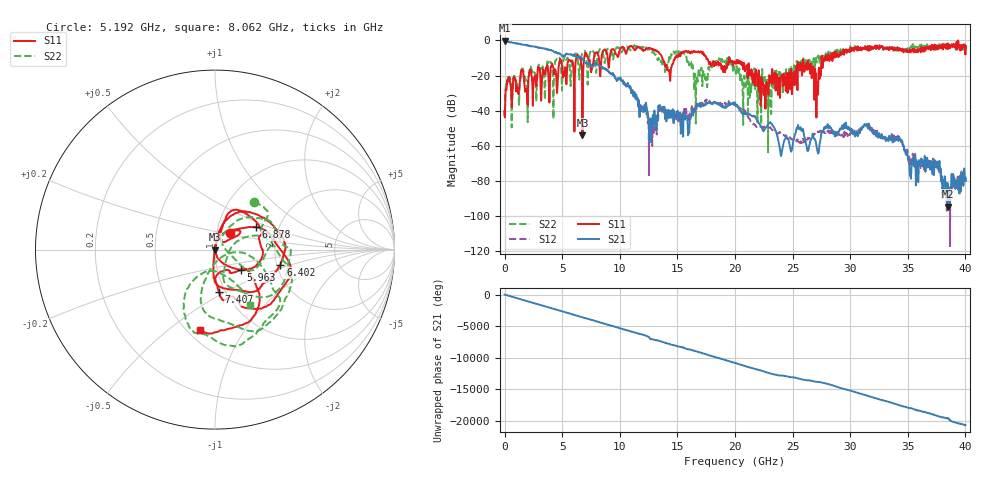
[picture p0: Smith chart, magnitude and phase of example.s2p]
! freq S11 S21 S12 S22
# MHz S RI R 50.00
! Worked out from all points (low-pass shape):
!   16000 points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, 2.5 MHz to 40 GHz, reference 50 ohm
!   highest |S21| = -0.19 dB at 2.5 MHz (marker M1); lowest = -94.4 dB at 38.49 GHz (marker M2)
!   |S21| within 3 dB of the highest: start of sweep to 2.211 GHz
!   lowest |S11| = -54.0 dB at 6.763 GHz (marker M3), VSWR 1.00, Z = 49.8 - j0.0522 ohm
!   |S11| at or under -10 dB: start of sweep to 6.23 GHz; 17.51 GHz to 19.49 GHz (1.981 GHz wide, 10.7 % of centre); 19.53 GHz to 27.5 GHz (7.972 GHz wide, 33.9 % of centre)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
!   |S22| runs from -63.7 to -0.5 dB; largest |S21 - S12| = 0.018
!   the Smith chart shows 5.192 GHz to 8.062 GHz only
!   S11 on the Smith chart (normalised r, x): 5.192 GHz: 1.17, +0.22; 5.963 GHz: 1.29, -0.30; 6.402 GHz: 2.09, -0.41; 6.878 GHz: 1.53, +0.41; 7.407 GHz: 0.93, -0.46; 8.062 GHz: 0.58, -0.65
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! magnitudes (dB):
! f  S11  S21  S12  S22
! 2.5 MHz  -40.4  -0.2  -0.2  -40.2
! 1.505 GHz  -16.7  -2.4  -2.3  -16.1
! 5.192 GHz  -18.0  -9.0  -9.0  -9.3
! 5.963 GHz  -14.8  -8.4  -8.4  -9.1
! 6.402 GHz  -8.5  -9.4  -9.4  -14.0
! 6.67 GHz  -13.6  -10.0  -9.8  -8.9
! 6.763 GHz  -54.0  -10.6  -10.6  -6.9
! 6.878 GHz  -11.7  -11.4  -11.5  -6.0
! 7.407 GHz  -12.5  -13.4  -13.5  -7.1
! 8.062 GHz  -6.8  -13.7  -13.6  -8.8
! 12.63 GHz  -4.6  -45.1  -46.0  -5.7
! 13.34 GHz  -6.3  -38.3  -44.1  -10.2
! 14.29 GHz  -17.3  -43.6  -43.3  -9.5
! 15.49 GHz  -6.8  -54.3  -45.4  -6.6
! 16.61 GHz  -6.5  -38.0  -37.7  -33.2
! 20 GHz  -12.5  -35.3  -36.2  -16.3
! 23.02 GHz  -20.2  -46.9  -49.5  -33.3
! 23.99 GHz  -20.8  -65.7  -53.2  -18.6
! 26.67 GHz  -20.9  -55.4  -54.5  -12.7
! 33.34 GHz  -4.9  -56.6  -56.2  -4.2
! 38.49 GHz  -1.8  -94.4  -89.7  -2.1
! 40 GHz  -3.4  -79.8  -79.2  -4.4
